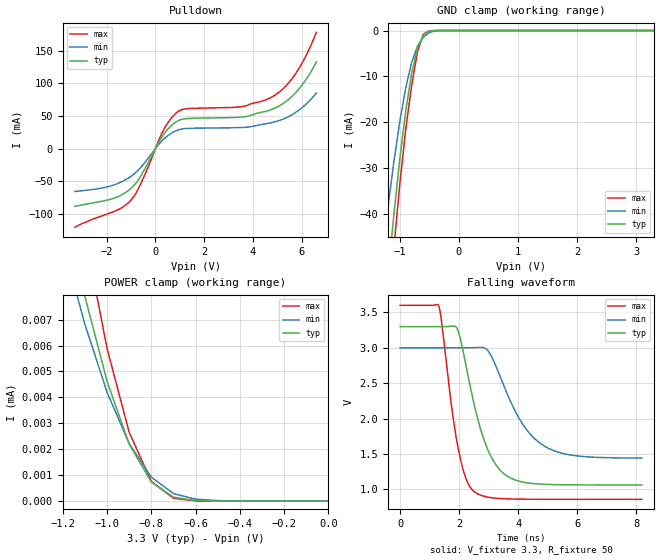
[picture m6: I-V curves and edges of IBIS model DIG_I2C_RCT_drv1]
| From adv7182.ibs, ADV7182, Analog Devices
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[Model] DIG_I2C_RCT_drv1
Model_type I/O_open_drain
Vinl = 1.37V
Vinh = 1.67V
C_comp 2.73117pF 1.72901pF 7.964094pF
Vmeas = 1.65V
Cref = 10pF
[Model Spec]
| Subparameter   typ   min   max
| Thresholds
Vinh   1.54V   1.44V   1.67V
Vinl   1.48V   1.37V   1.61V
| Overshoot
S_overshoot_high   3.60V   3.30V   3.90V
S_overshoot_low   -0.30V   NA   NA
| Timing spec related
Vmeas   1.65V   1.50V   1.80V
Cref   10pF   NA   NA
| variable   typ   min   max
[Temperature Range]   25   125   -40
[Voltage Range]   3.30V   3.00V   3.60V
[Pulldown Reference]   0V   0V   0V
[GND Clamp Reference]   0V   0V   0V
[POWER Clamp Reference]  3.30V   3.00V   3.60V
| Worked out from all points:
|   slope of the pulldown table from 0 to 0.495 V, typ, clamps not added: 17 ohm
|   GND clamp passes 1 mA (typ) near -0.60 V on its own axis
|   falling waveform, V_fixture 3.3, R_fixture 50: 20-80 % time 842ps typ, 1.17ns min, 560ps max; typ from 3.3 V to 1.06 V
[Pulldown]
| Note: Vtable = Vpin
| Voltage   I(typ)   I(min)   I(max)
-3.3V     -88.09mA   -65.37mA   -119.9mA
-1.7V     -75.69mA   -55.36mA   -96.05mA
-1V       -60.59mA   -42.24mA   -78.47mA
-600mV    -41.89mA   -28.7mA    -53.65mA
300mV     19.65mA    13.08mA    26.01mA
900mV     42.18mA    28.16mA    56mA
1.3V      46.08mA    30.97mA    61.13mA
3.6V      48.56mA    32.53mA    64.55mA
4.8V      60.47mA    40.16mA    79.49mA
5.7V      83.64mA    54.18mA    112mA
6.2V      107.1mA    68.91mA    144mA
6.6V      132.4mA    85.15mA    177.9mA
[GND Clamp]
| Note: Vtable = Vpin
| Voltage   I(typ)   I(min)   I(max)
-3.3V     -431.8mA   -349mA     -484.3mA
-1.3V     -67.14mA   -48.94mA   -78.55mA
-1.2V     -53.08mA   -38.26mA   -62.36mA
-1.1V     -39.88mA   -28.44mA   -47.13mA
-1V       -27.84mA   -19.7mA    -33.28mA
-900mV    -17.44mA   -12.4mA    -21.37mA
-800mV    -9.272mA   -6.915mA   -11.88mA
-700mV    -3.752mA   -3.35mA    -4.502mA
-600mV    -904.8uA   -1.389mA   -763.7uA
-500mV    -118.6uA   -438.4uA   -60.27uA
-300mV    -541.4nA   -7.115uA   -61.02nA
3.3V      0A         0A         0A
[Power Clamp]
| Note: Vtable = VCC - Vpin
| Voltage   I(typ)   I(min)   I(max)
-3.3V     215.8uA    169.6uA    286.8uA
-1.2V     11.9uA     9.962uA    15.75uA
-1.1V     7.892uA    6.814uA    10.3uA
-1V       4.624uA    4.205uA    5.886uA
-900mV    2.196uA    2.217uA    2.651uA
-800mV    733.8nA    925.3nA    762.1nA
-700mV    152.1nA    290.8nA    110.8nA
-600mV    22.95nA    76.33nA    10.03nA
-400mV    0A         0A         0A
0V        0A         0A         0A
[Ramp]
| Variable   typ   min   max
dV/dt_r   1.34V/190.0192ps   0.94V/235.1718ps   1.53V/160.9418ps
dV/dt_f   1.34V/842.0007ps   0.94V/1.176132ns   1.53V/496.3257ps
R_load =  50
[Falling Waveform]
V_fixture =  3.3
R_fixture =  50
V_fixture_max =  3.6
V_fixture_min =  3
| R_dut = 0.23Ohm
| L_dut = 6.2nH
| C_dut = 1.05pF
| Time   V(typ)   V(min)   V(max)
0s        3.3V       3V         3.6V
1.302ns   3.3V       3V         3.597V
1.945ns   3.257V     3V         1.621V
2.228ns   2.754V     3V         1.154V
2.507ns   2.198V     3.002V     969.3mV
3.04ns    1.495V     2.918V     885.9mV
3.759ns   1.156V     2.224V     864.6mV
4.392ns   1.088V     1.787V     860.8mV
5.098ns   1.069V     1.565V     859.9mV
8.18ns    1.063V     1.442V     859.6mV
